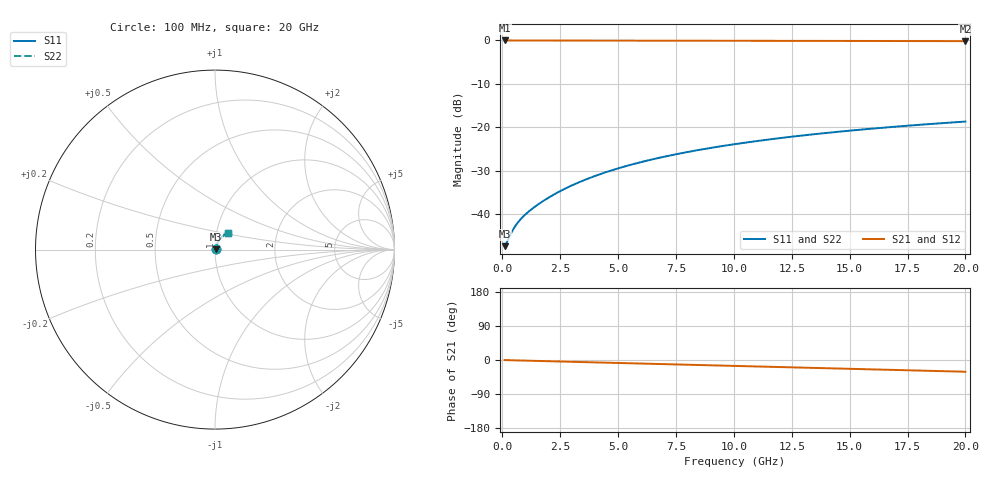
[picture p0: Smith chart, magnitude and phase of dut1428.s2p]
! Touchstone file exported from HFSS 2026.1.0
!  File:  C:/ffzhzh/LocalFiles/Ansys_Project_Files/temp_train_BSMRDL_1428_1783180340_22436.aedt
!  Generated:  11:53:28 PM Jul  4, 2026
!  Design:  BSMRDL
!  Project:  temp_train_BSMRDL_1428_1783180340_22436
! Variables:
!  h_bsmrdl = 2.33um
!  h_ox = 20um
!  h_rdl = 5um
!  h_sub = 80um
!  h_tmrdl = 5um
!  h_tsv = 80um
!  h_via = 3um
!  l_bsmrdl = 530.6um
!  l_sub = 930.6um
!  l_tmrdl = 200um
!  m_sub = 200um
!  pitch = 26.85um
!  r_tsv = 6um
!  s_tmrdl = 10um
!  w_bsmrdl = 20.86um
!  w_sub = 500um
!  w_tmrdl = 12um
!  x_tsv_center1 = 206um
!  x_tsv_center2 = 757.46um
!  x_tsv_center3 = 969.46um
!  x_tsv_center4 = 1520.92um
!  x_tsv_center5 = 1732.92um
!  x_tsv_center6 = 2284.38um
# GHz S MA R 50.000000
! Terminal data exported
! Port[1] = BSM_RDL1_1_T1
! Port[2] = BSM_RDL1_1_T2
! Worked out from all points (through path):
!   200 points, 100 MHz to 20 GHz, reference 50 ohm
!   highest |S21| = -0.04 dB at 100 MHz (marker M1); lowest = -0.2 dB at 20 GHz (marker M2)
!   group delay of S21, straight-line fit = 4.29 ps
!   lowest |S11| = -47.3 dB at 100 MHz (marker M3), VSWR 1.01, Z = 50.4 + j0.107 ohm
!   |S11| at or under -10 dB: start of sweep to end of sweep
!   |S22| runs from -47.3 to -18.7 dB; largest |S21 - S12| = 2.1e-15
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0.1  0.004303 14.2  0.9958 -0.2  0.9958 -0.2  0.004303 14.2
! Gamma 0 0 0 0
! Port Impedance 50 0 50 0
0.2  0.004812 25.4  0.9957 -0.4  0.9957 -0.4  0.004812 25.4
0.4  0.006207 38.0  0.9951 -0.7  0.9951 -0.7  0.006207 38.0
0.5  0.006915 41.5  0.9949 -0.9  0.9949 -0.9  0.006915 41.4
0.6  0.007589 44.0  0.9946 -1.0  0.9946 -1.0  0.007589 44.0
0.8  0.008831 47.7  0.9942 -1.3  0.9942 -1.3  0.00883 47.7
1.1  0.01054 52.0  0.9938 -1.8  0.9938 -1.8  0.01054 52.0
1.3  0.01164 54.5  0.9936 -2.1  0.9936 -2.1  0.01164 54.5
1.6  0.0133 57.5  0.9934 -2.6  0.9934 -2.6  0.01329 57.5
2.2  0.01671 62.1  0.993 -3.5  0.993 -3.5  0.01671 62.1
2.8  0.02025 65.0  0.9928 -4.5  0.9928 -4.5  0.02025 65.0
3.5  0.02449 67.0  0.9924 -5.6  0.9924 -5.6  0.02449 67.0
4.2  0.02878 68.1  0.9921 -6.7  0.9921 -6.7  0.02878 68.1
5  0.03371 68.7  0.9916 -7.9  0.9916 -7.9  0.03371 68.7
5.9  0.03925 68.6  0.991 -9.3  0.991 -9.3  0.03925 68.6
6.8  0.04475 68.2  0.9904 -10.7  0.9904 -10.7  0.04475 68.2
8.4  0.05439 66.9  0.9892 -13.2  0.9892 -13.2  0.05439 66.9
10.1  0.06438 65.1  0.9878 -15.8  0.9878 -15.8  0.06438 65.1
11.7  0.07352 63.1  0.9863 -18.3  0.9863 -18.3  0.07352 63.1
13.4  0.08293 60.9  0.9847 -20.9  0.9847 -20.9  0.08293 60.9
16.7  0.1003 56.4  0.9814 -26.0  0.9814 -26.0  0.1003 56.4
20  0.1164 51.8  0.9782 -31.0  0.9782 -31.0  0.1164 51.8
